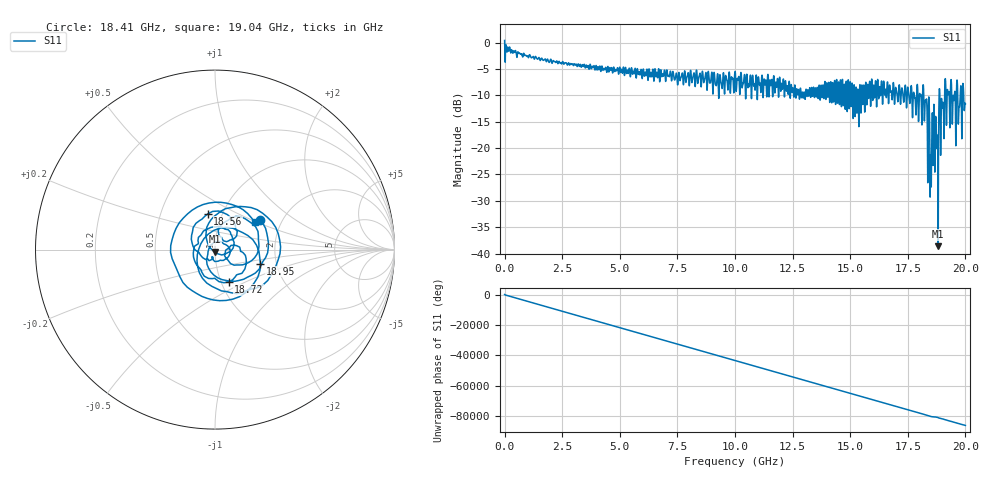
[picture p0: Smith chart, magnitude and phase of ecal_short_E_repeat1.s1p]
! MS46122B
! 2250307/22442219
! 7/27/2025 9:22:14 AM
! C:\USERS\SPARKY\DOCUMENTS\VNA_DATA\JULY27_2025\3K\ECAL_SHORT_E_REPEAT1.S1P
! CHANNEL.1
! TR.MEASUREMENT
! RAW.DATA
# GHZ S RI R 50.0
! FREQ.GHZ  S11RE  S11IM
!; PortSelection: Port_1
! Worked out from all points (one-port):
!   10001 points, 1 MHz to 20 GHz, reference 50 ohm
!   lowest |S11| = -38.6 dB at 18.82 GHz (marker M1), VSWR 1.02, Z = 50.1 - j1.17 ohm
!   |S11| at or under -10 dB: 18.19 GHz to 18.86 GHz (666.8 MHz wide, 3.6 % of centre); 18.89 GHz to 19.1 GHz (207.4 MHz wide, 1.09 % of centre); 19.67 GHz to 19.77 GHz (107.6 MHz wide, 0.546 % of centre) (the widest 3 of 81)
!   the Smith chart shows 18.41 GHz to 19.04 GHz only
!   S11 on the Smith chart (normalised r, x): 18.41 GHz: 1.54, +0.56; 18.56 GHz: 0.85, +0.35; 18.72 GHz: 1.08, -0.41; 18.95 GHz: 1.65, -0.28; 19.04 GHz: 1.47, +0.48
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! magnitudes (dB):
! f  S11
! 1 MHz  0.4
! 2.501 GHz  -3.8
! 5.001 GHz  -4.7
! 7.501 GHz  -7.7
! 10 GHz  -5.5
! 12.5 GHz  -8.8
! 15 GHz  -7.4
! 15.3 GHz  -13.2
! 16.02 GHz  -8.1
! 17.5 GHz  -8.5
! 18.23 GHz  -13.0
! 18.29 GHz  -11.2
! 18.35 GHz  -19.5
! 18.41 GHz  -10.4
! 18.44 GHz  -14.2
! 18.56 GHz  -13.9
! 18.64 GHz  -12.2
! 18.72 GHz  -14.2
! 18.75 GHz  -18.5
! 18.82 GHz  -38.6
! 18.95 GHz  -11.5
! 19 GHz  -12.1
! 19.04 GHz  -11.4
! 19.2 GHz  -11.0
! 19.25 GHz  -9.9
! 19.46 GHz  -11.0
! 19.51 GHz  -10.9
! 20 GHz  -11.6
